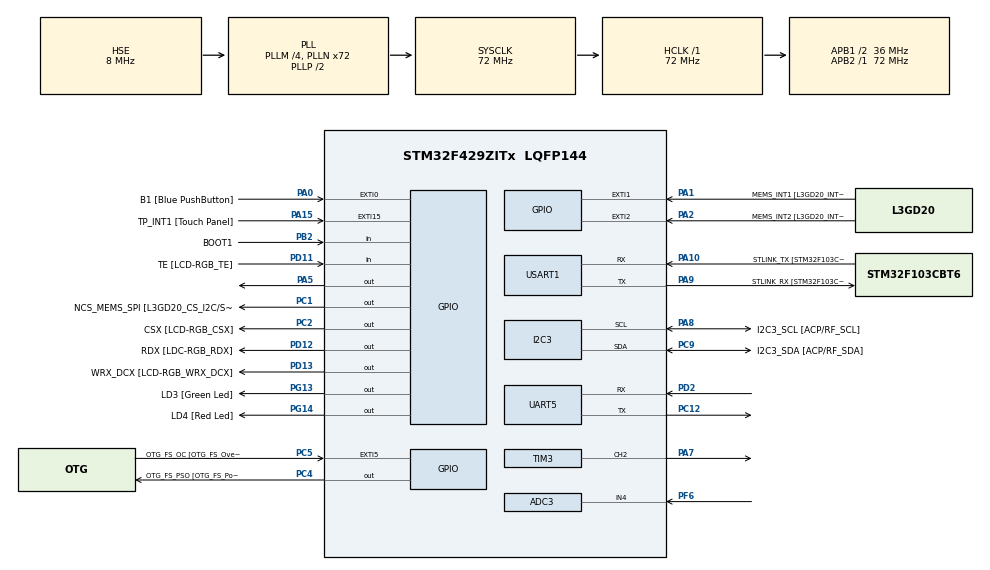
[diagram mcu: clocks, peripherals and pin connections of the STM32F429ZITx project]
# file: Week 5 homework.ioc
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ADC3.Channel-1\#ChannelRegularConversion=ADC_CHANNEL_4
ADC3.ContinuousConvMode=ENABLE
ADC3.NbrOfConversionFlag=1
ADC3.Rank-1\#ChannelRegularConversion=1
ADC3.SamplingTime-1\#ChannelRegularConversion=ADC_SAMPLETIME_3CYCLES
Mcu.Family=STM32F4
Mcu.Name=STM32F429ZITx
Mcu.Package=LQFP144
NVIC.EXTI0_IRQn=true\:0\:0\:false\:false\:true\:true\:true\:true
NVIC.PriorityGroup=NVIC_PRIORITYGROUP_4
NVIC.TIM6_DAC_IRQn=true\:15\:0\:false\:false\:true\:false\:true\:true
NVIC.TimeBase=TIM6_DAC_IRQn
NVIC.TimeBaseIP=TIM6
PA0/WKUP.GPIO_Label=B1 [Blue PushButton]
PA0/WKUP.GPIO_ModeDefaultEXTI=GPIO_MODE_IT_RISING
PA0/WKUP.GPIO_PuPd=GPIO_NOPULL
PA0/WKUP.Signal=GPXTI0
PA1.GPIO_Label=MEMS_INT1 [L3GD20_INT1]
PA1.GPIO_ModeDefaultEXTI=GPIO_MODE_EVT_RISING
PA1.GPIO_PuPd=GPIO_NOPULL
PA1.Signal=GPXTI1
PA10.GPIO_Label=STLINK_TX [STM32F103CBT6_PA2]
PA10.Mode=Asynchronous
PA10.Signal=USART1_RX
PA11.GPIO_Label=R4
PA11.GPIO_Mode=GPIO_MODE_AF_PP
PA11.GPIO_PuPd=GPIO_NOPULL
PA11.GPIO_Speed=GPIO_SPEED_FREQ_LOW
PA11.Signal=LTDC_R4
PA12.GPIO_Label=R5
PA12.GPIO_Mode=GPIO_MODE_AF_PP
PA12.GPIO_PuPd=GPIO_NOPULL
PA12.GPIO_Speed=GPIO_SPEED_FREQ_LOW
PA12.Signal=LTDC_R5
PA13.GPIO_Label=SWDIO
PA13.Mode=Serial_Wire
PA13.Signal=SYS_JTMS-SWDIO
PA14.GPIO_Label=SWCLK
PA14.Mode=Serial_Wire
PA14.Signal=SYS_JTCK-SWCLK
PA15.GPIO_Label=TP_INT1 [Touch Panel]
PA15.GPIO_ModeDefaultEXTI=GPIO_MODE_EVT_RISING
PA15.GPIO_PuPd=GPIO_NOPULL
PA15.Signal=GPXTI15
PA2.GPIO_Label=MEMS_INT2 [L3GD20_INT2]
PA2.GPIO_ModeDefaultEXTI=GPIO_MODE_EVT_RISING
PA2.GPIO_PuPd=GPIO_NOPULL
PA2.Signal=GPXTI2
PA3.GPIO_Label=B5
PA3.GPIO_Mode=GPIO_MODE_AF_PP
PA3.GPIO_PuPd=GPIO_NOPULL
PA3.GPIO_Speed=GPIO_SPEED_FREQ_LOW
PA3.Signal=LTDC_B5
PA4.GPIO_Label=VSYNC
PA4.GPIO_Mode=GPIO_MODE_AF_PP
PA4.GPIO_PuPd=GPIO_NOPULL
PA4.GPIO_Speed=GPIO_SPEED_FREQ_LOW
PA4.Signal=LTDC_VSYNC
PA5.Signal=GPIO_Output
PA6.GPIO_Label=G2
PA6.GPIO_Mode=GPIO_MODE_AF_PP
PA6.GPIO_PuPd=GPIO_NOPULL
PA6.GPIO_Speed=GPIO_SPEED_FREQ_LOW
PA6.Signal=LTDC_G2
PA7.Signal=S_TIM3_CH2
PA8.GPIO_Label=I2C3_SCL [ACP/RF_SCL]
PA8.GPIO_Mode=GPIO_MODE_AF_OD
PA8.GPIO_Pu=GPIO_PULLUP
PA8.GPIO_PuPd=GPIO_NOPULL
PA8.GPIO_Speed=GPIO_SPEED_FREQ_LOW
PA8.Mode=I2C
PA8.Signal=I2C3_SCL
PA9.GPIO_Label=STLINK_RX [STM32F103CBT6_PA3]
PA9.Mode=Asynchronous
PA9.Signal=USART1_TX
PB0.GPIO_Label=R3
PB0.GPIO_Mode=GPIO_MODE_AF_PP
PB0.GPIO_PuPd=GPIO_NOPULL
PB0.GPIO_Speed=GPIO_SPEED_FREQ_LOW
PB0.Signal=LTDC_R3
PB1.GPIO_Label=R6
PB1.GPIO_Mode=GPIO_MODE_AF_PP
PB1.GPIO_PuPd=GPIO_NOPULL
PB1.GPIO_Speed=GPIO_SPEED_FREQ_LOW
PB1.Signal=LTDC_R6
PB10.GPIO_Label=G4
PB10.GPIO_Mode=GPIO_MODE_AF_PP
PB10.GPIO_PuPd=GPIO_NOPULL
PB10.GPIO_Speed=GPIO_SPEED_FREQ_LOW
PB10.Signal=LTDC_G4
PB11.GPIO_Label=G5
PB11.GPIO_Mode=GPIO_MODE_AF_PP
PB11.GPIO_PuPd=GPIO_NOPULL
PB11.GPIO_Speed=GPIO_SPEED_FREQ_LOW
PB11.Signal=LTDC_G5
PB12.GPIO_Label=OTG_HS_ID
PB12.GPIO_Mode=GPIO_MODE_AF_PP
PB12.GPIO_PuPd=GPIO_NOPULL
PB12.GPIO_Speed=GPIO_SPEED_FREQ_LOW
PB12.Signal=USB_OTG_HS_ID
PB13.GPIO_Label=VBUS_HS
PB13.GPIO_Mode=GPIO_MODE_INPUT
PB13.GPIO_PuPd=GPIO_NOPULL
PB13.Signal=USB_OTG_HS_VBUS
PB14.GPIO_Label=OTG_HS_DM
PB14.GPIO_Mode=GPIO_MODE_AF_PP
PB14.GPIO_PuPd=GPIO_NOPULL
PB14.GPIO_Speed=GPIO_SPEED_FREQ_LOW
PB14.Signal=USB_OTG_HS_DM
PB15.GPIO_Label=OTG_HS_DP
PB15.GPIO_Mode=GPIO_MODE_AF_PP
PB15.GPIO_PuPd=GPIO_NOPULL
PB15.GPIO_Speed=GPIO_SPEED_FREQ_LOW
PB15.Signal=USB_OTG_HS_DP
PB2/BOOT1.GPIO_Label=BOOT1
PB2/BOOT1.GPIO_Mode=GPIO_MODE_INPUT
PB2/BOOT1.GPIO_PuPd=GPIO_NOPULL
PB2/BOOT1.Signal=GPIO_Input
PB5.GPIO_Label=SDCKE1
PB5.GPIO_Mode=GPIO_MODE_AF_PP
PB5.GPIO_PuPd=GPIO_NOPULL
PB5.GPIO_Speed=GPIO_SPEED_FREQ_VERY_HIGH
PB5.Signal=FMC_SDCKE1
PB6.GPIO_Label=SDNE1 [SDRAM_CS]
PB6.GPIO_Mode=GPIO_MODE_AF_PP
PB6.GPIO_PuPd=GPIO_NOPULL
PB6.GPIO_Speed=GPIO_SPEED_FREQ_VERY_HIGH
PB6.Signal=FMC_SDNE1
PB8.GPIO_Label=B6
PB8.GPIO_Mode=GPIO_MODE_AF_PP
PB8.GPIO_PuPd=GPIO_NOPULL
PB8.GPIO_Speed=GPIO_SPEED_FREQ_LOW
PB8.Signal=LTDC_B6
PB9.GPIO_Label=B7
PB9.GPIO_Mode=GPIO_MODE_AF_PP
PB9.GPIO_PuPd=GPIO_NOPULL
PB9.GPIO_Speed=GPIO_SPEED_FREQ_LOW
PB9.Signal=LTDC_B7
PC0.GPIO_Label=SDNWE
PC0.GPIO_Mode=GPIO_MODE_AF_PP
PC0.GPIO_PuPd=GPIO_NOPULL
PC0.GPIO_Speed=GPIO_SPEED_FREQ_VERY_HIGH
PC0.Signal=FMC_SDNWE
PC1.GPIO_Label=NCS_MEMS_SPI [L3GD20_CS_I2C/SPI]
PC1.GPIO_Mode=GPIO_MODE_OUTPUT_PP
PC1.GPIO_PuPd=GPIO_NOPULL
PC1.GPIO_Speed=GPIO_SPEED_FREQ_LOW
PC1.Signal=GPIO_Output
PC10.GPIO_Label=R2
PC10.GPIO_Mode=GPIO_MODE_AF_PP
PC10.GPIO_PuPd=GPIO_NOPULL
PC10.GPIO_Speed=GPIO_SPEED_FREQ_LOW
PC10.Signal=LTDC_R2
PC12.Mode=Asynchronous
PC12.Signal=UART5_TX
PC14/OSC32_IN.GPIO_Label=PC14-OSC32_IN
PC14/OSC32_IN.Signal=RCC_OSC32_IN
PC15/OSC32_OUT.GPIO_Label=PC15-OSC32_OUT
PC15/OSC32_OUT.Signal=RCC_OSC32_OUT
PC2.GPIO_Label=CSX [LCD-RGB_CSX]
PC2.GPIO_Mode=GPIO_MODE_OUTPUT_PP
PC2.GPIO_PuPd=GPIO_NOPULL
PC2.GPIO_Speed=GPIO_SPEED_FREQ_LOW
PC2.Signal=GPIO_Output
PC4.GPIO_Label=OTG_FS_PSO [OTG_FS_PowerSwitchOn]
PC4.GPIO_Mode=GPIO_MODE_OUTPUT_PP
PC4.GPIO_PuPd=GPIO_NOPULL
PC4.GPIO_Speed=GPIO_SPEED_FREQ_LOW
PC4.Signal=GPIO_Output
PC5.GPIO_Label=OTG_FS_OC [OTG_FS_OverCurrent]
PC5.GPIO_ModeDefaultEXTI=GPIO_MODE_EVT_RISING
PC5.Signal=GPXTI5
PC6.GPIO_Label=HSYNC
PC6.GPIO_Mode=GPIO_MODE_AF_PP
PC6.GPIO_PuPd=GPIO_NOPULL
PC6.GPIO_Speed=GPIO_SPEED_FREQ_LOW
PC6.Signal=LTDC_HSYNC
PC7.GPIO_Label=G6
PC7.GPIO_Mode=GPIO_MODE_AF_PP
PC7.GPIO_PuPd=GPIO_NOPULL
PC7.GPIO_Speed=GPIO_SPEED_FREQ_LOW
PC7.Signal=LTDC_G6
PC9.GPIO_Label=I2C3_SDA [ACP/RF_SDA]
PC9.GPIO_Mode=GPIO_MODE_AF_OD
PC9.GPIO_Pu=GPIO_PULLUP
PC9.GPIO_PuPd=GPIO_NOPULL
PC9.GPIO_Speed=GPIO_SPEED_FREQ_LOW
PC9.Mode=I2C
PC9.Signal=I2C3_SDA
PD0.GPIO_Label=D2
PD0.GPIO_Mode=GPIO_MODE_AF_PP
PD0.GPIO_PuPd=GPIO_NOPULL
PD0.GPIO_Speed=GPIO_SPEED_FREQ_VERY_HIGH
PD0.Signal=FMC_D2_DA2
PD1.GPIO_Label=D3
PD1.GPIO_Mode=GPIO_MODE_AF_PP
PD1.GPIO_PuPd=GPIO_NOPULL
PD1.GPIO_Speed=GPIO_SPEED_FREQ_VERY_HIGH
PD1.Signal=FMC_D3_DA3
PD10.GPIO_Label=D15
PD10.GPIO_Mode=GPIO_MODE_AF_PP
PD10.GPIO_PuPd=GPIO_NOPULL
PD10.GPIO_Speed=GPIO_SPEED_FREQ_VERY_HIGH
PD10.Signal=FMC_D15_DA15
PD11.GPIO_Label=TE [LCD-RGB_TE]
PD11.GPIO_Mode=GPIO_MODE_INPUT
PD11.GPIO_PuPd=GPIO_NOPULL
PD11.Signal=GPIO_Input
PD12.GPIO_Label=RDX [LDC-RGB_RDX]
PD12.GPIO_Mode=GPIO_MODE_OUTPUT_PP
PD12.GPIO_PuPd=GPIO_NOPULL
PD12.GPIO_Speed=GPIO_SPEED_FREQ_LOW
PD12.Signal=GPIO_Output
PD13.GPIO_Label=WRX_DCX [LCD-RGB_WRX_DCX]
PD13.GPIO_Mode=GPIO_MODE_OUTPUT_PP
PD13.GPIO_PuPd=GPIO_NOPULL
PD13.GPIO_Speed=GPIO_SPEED_FREQ_LOW
PD13.Signal=GPIO_Output
PD14.GPIO_Label=D0
PD14.GPIO_Mode=GPIO_MODE_AF_PP
PD14.GPIO_PuPd=GPIO_NOPULL
PD14.GPIO_Speed=GPIO_SPEED_FREQ_VERY_HIGH
PD14.Signal=FMC_D0_DA0
PD15.GPIO_Label=D1
PD15.GPIO_Mode=GPIO_MODE_AF_PP
PD15.GPIO_PuPd=GPIO_NOPULL
PD15.GPIO_Speed=GPIO_SPEED_FREQ_VERY_HIGH
PD15.Signal=FMC_D1_DA1
PD2.Mode=Asynchronous
PD2.Signal=UART5_RX
PD3.GPIO_Label=G7
PD3.GPIO_Mode=GPIO_MODE_AF_PP
PD3.GPIO_PuPd=GPIO_NOPULL
PD3.GPIO_Speed=GPIO_SPEED_FREQ_LOW
PD3.Signal=LTDC_G7
PD6.GPIO_Label=B2
PD6.GPIO_Mode=GPIO_MODE_AF_PP
PD6.GPIO_PuPd=GPIO_NOPULL
PD6.GPIO_Speed=GPIO_SPEED_FREQ_LOW
PD6.Signal=LTDC_B2
PD8.GPIO_Label=D13
PD8.GPIO_Mode=GPIO_MODE_AF_PP
PD8.GPIO_PuPd=GPIO_NOPULL
PD8.GPIO_Speed=GPIO_SPEED_FREQ_VERY_HIGH
PD8.Signal=FMC_D13_DA13
PD9.GPIO_Label=D14
PD9.GPIO_Mode=GPIO_MODE_AF_PP
PD9.GPIO_PuPd=GPIO_NOPULL
PD9.GPIO_Speed=GPIO_SPEED_FREQ_VERY_HIGH
PD9.Signal=FMC_D14_DA14
PE0.GPIO_Label=NBL0 [SDRAM_LDQM]
PE0.GPIO_Mode=GPIO_MODE_AF_PP
PE0.GPIO_PuPd=GPIO_NOPULL
PE0.GPIO_Speed=GPIO_SPEED_FREQ_VERY_HIGH
PE0.Signal=FMC_NBL0
PE1.GPIO_Label=NBL1 [SDRAM_UDQM]
PE1.GPIO_Mode=GPIO_MODE_AF_PP
PE1.GPIO_PuPd=GPIO_NOPULL
PE1.GPIO_Speed=GPIO_SPEED_FREQ_VERY_HIGH
PE1.Signal=FMC_NBL1
PE10.GPIO_Label=D7
PE10.GPIO_Mode=GPIO_MODE_AF_PP
PE10.GPIO_PuPd=GPIO_NOPULL
PE10.GPIO_Speed=GPIO_SPEED_FREQ_VERY_HIGH
PE10.Signal=FMC_D7_DA7
PE11.GPIO_Label=D8
PE11.GPIO_Mode=GPIO_MODE_AF_PP
PE11.GPIO_PuPd=GPIO_NOPULL
PE11.GPIO_Speed=GPIO_SPEED_FREQ_VERY_HIGH
PE11.Signal=FMC_D8_DA8
PE12.GPIO_Label=D9
PE12.GPIO_Mode=GPIO_MODE_AF_PP
PE12.GPIO_PuPd=GPIO_NOPULL
PE12.GPIO_Speed=GPIO_SPEED_FREQ_VERY_HIGH
PE12.Signal=FMC_D9_DA9
PE13.GPIO_Label=D10
PE13.GPIO_Mode=GPIO_MODE_AF_PP
PE13.GPIO_PuPd=GPIO_NOPULL
PE13.GPIO_Speed=GPIO_SPEED_FREQ_VERY_HIGH
PE13.Signal=FMC_D10_DA10
PE14.GPIO_Label=D11
PE14.GPIO_Mode=GPIO_MODE_AF_PP
PE14.GPIO_PuPd=GPIO_NOPULL
PE14.GPIO_Speed=GPIO_SPEED_FREQ_VERY_HIGH
PE14.Signal=FMC_D11_DA11
PE15.GPIO_Label=D12
PE15.GPIO_Mode=GPIO_MODE_AF_PP
PE15.GPIO_PuPd=GPIO_NOPULL
PE15.GPIO_Speed=GPIO_SPEED_FREQ_VERY_HIGH
PE15.Signal=FMC_D12_DA12
PE7.GPIO_Label=D4
PE7.GPIO_Mode=GPIO_MODE_AF_PP
PE7.GPIO_PuPd=GPIO_NOPULL
PE7.GPIO_Speed=GPIO_SPEED_FREQ_VERY_HIGH
PE7.Signal=FMC_D4_DA4
PE8.GPIO_Label=D5
PE8.GPIO_Mode=GPIO_MODE_AF_PP
PE8.GPIO_PuPd=GPIO_NOPULL
PE8.GPIO_Speed=GPIO_SPEED_FREQ_VERY_HIGH
PE8.Signal=FMC_D5_DA5
PE9.GPIO_Label=D6
PE9.GPIO_Mode=GPIO_MODE_AF_PP
PE9.GPIO_PuPd=GPIO_NOPULL
PE9.GPIO_Speed=GPIO_SPEED_FREQ_VERY_HIGH
PE9.Signal=FMC_D6_DA6
PF0.GPIO_Label=A0
PF0.GPIO_Mode=GPIO_MODE_AF_PP
PF0.GPIO_PuPd=GPIO_NOPULL
PF0.GPIO_Speed=GPIO_SPEED_FREQ_VERY_HIGH
PF0.Signal=FMC_A0
PF1.GPIO_Label=A1
PF1.GPIO_Mode=GPIO_MODE_AF_PP
PF1.GPIO_PuPd=GPIO_NOPULL
PF1.GPIO_Speed=GPIO_SPEED_FREQ_VERY_HIGH
PF1.Signal=FMC_A1
PF10.GPIO_Label=ENABLE [LCD-RGB_ENABLE]
PF10.GPIO_Mode=GPIO_MODE_AF_PP
PF10.GPIO_PuPd=GPIO_NOPULL
PF10.GPIO_Speed=GPIO_SPEED_FREQ_LOW
PF10.Signal=LTDC_DE
PF11.GPIO_Label=SDNRAS
PF11.GPIO_Mode=GPIO_MODE_AF_PP
PF11.GPIO_PuPd=GPIO_NOPULL
PF11.GPIO_Speed=GPIO_SPEED_FREQ_VERY_HIGH
PF11.Signal=FMC_SDNRAS
PF12.GPIO_Label=A6
PF12.GPIO_Mode=GPIO_MODE_AF_PP
PF12.GPIO_PuPd=GPIO_NOPULL
PF12.GPIO_Speed=GPIO_SPEED_FREQ_VERY_HIGH
PF12.Signal=FMC_A6
PF13.GPIO_Label=A7
PF13.GPIO_Mode=GPIO_MODE_AF_PP
PF13.GPIO_PuPd=GPIO_NOPULL
PF13.GPIO_Speed=GPIO_SPEED_FREQ_VERY_HIGH
PF13.Signal=FMC_A7
PF14.GPIO_Label=A8
PF14.GPIO_Mode=GPIO_MODE_AF_PP
PF14.GPIO_PuPd=GPIO_NOPULL
PF14.GPIO_Speed=GPIO_SPEED_FREQ_VERY_HIGH
PF14.Signal=FMC_A8
PF15.GPIO_Label=A9
PF15.GPIO_Mode=GPIO_MODE_AF_PP
PF15.GPIO_PuPd=GPIO_NOPULL
PF15.GPIO_Speed=GPIO_SPEED_FREQ_VERY_HIGH
PF15.Signal=FMC_A9
PF2.GPIO_Label=A2
PF2.GPIO_Mode=GPIO_MODE_AF_PP
PF2.GPIO_PuPd=GPIO_NOPULL
PF2.GPIO_Speed=GPIO_SPEED_FREQ_VERY_HIGH
PF2.Signal=FMC_A2
PF3.GPIO_Label=A3
PF3.GPIO_Mode=GPIO_MODE_AF_PP
PF3.GPIO_PuPd=GPIO_NOPULL
PF3.GPIO_Speed=GPIO_SPEED_FREQ_VERY_HIGH
PF3.Signal=FMC_A3
PF4.GPIO_Label=A4
PF4.GPIO_Mode=GPIO_MODE_AF_PP
PF4.GPIO_PuPd=GPIO_NOPULL
PF4.GPIO_Speed=GPIO_SPEED_FREQ_VERY_HIGH
PF4.Signal=FMC_A4
PF5.GPIO_Label=A5
PF5.GPIO_Mode=GPIO_MODE_AF_PP
PF5.GPIO_PuPd=GPIO_NOPULL
PF5.GPIO_Speed=GPIO_SPEED_FREQ_VERY_HIGH
PF5.Signal=FMC_A5
PF6.Mode=IN4
PF6.Signal=ADC3_IN4
PF7.GPIO_Label=SPI5_SCK [L3GD20_SCL/SPC]
PF7.GPIO_Mode=GPIO_MODE_AF_PP
PF7.GPIO_PuPd=GPIO_NOPULL
PF7.GPIO_Speed=GPIO_SPEED_FREQ_LOW
PF7.Signal=SPI5_SCK
PF8.GPIO_Label=SPI5_MISO [L3GD20_SDO]
PF8.GPIO_Mode=GPIO_MODE_AF_PP
PF8.GPIO_PuPd=GPIO_NOPULL
PF8.GPIO_Speed=GPIO_SPEED_FREQ_LOW
PF8.Signal=SPI5_MISO
PF9.GPIO_Label=SPI5_MOSI [L3GD20_SDA/SDI/SDO]
PF9.GPIO_Mode=GPIO_MODE_AF_PP
PF9.GPIO_PuPd=GPIO_NOPULL
PF9.GPIO_Speed=GPIO_SPEED_FREQ_LOW
PF9.Signal=SPI5_MOSI
PG0.GPIO_Label=A10
PG0.GPIO_Mode=GPIO_MODE_AF_PP
PG0.GPIO_PuPd=GPIO_NOPULL
PG0.GPIO_Speed=GPIO_SPEED_FREQ_VERY_HIGH
PG0.Signal=FMC_A10
PG1.GPIO_Label=A11
PG1.GPIO_Mode=GPIO_MODE_AF_PP
PG1.GPIO_PuPd=GPIO_NOPULL
PG1.GPIO_Speed=GPIO_SPEED_FREQ_VERY_HIGH
PG1.Signal=FMC_A11
PG10.GPIO_Label=G3
PG10.GPIO_Mode=GPIO_MODE_AF_PP
PG10.GPIO_PuPd=GPIO_NOPULL
PG10.GPIO_Speed=GPIO_SPEED_FREQ_LOW
PG10.Signal=LTDC_G3
PG11.GPIO_Label=B3
PG11.GPIO_Mode=GPIO_MODE_AF_PP
PG11.GPIO_PuPd=GPIO_NOPULL
PG11.GPIO_Speed=GPIO_SPEED_FREQ_LOW
PG11.Signal=LTDC_B3
PG12.GPIO_Label=B4
PG12.GPIO_Mode=GPIO_MODE_AF_PP
PG12.GPIO_PuPd=GPIO_NOPULL
PG12.GPIO_Speed=GPIO_SPEED_FREQ_LOW
PG12.Signal=LTDC_B4
PG13.GPIO_Label=LD3 [Green Led]
PG13.GPIO_Mode=GPIO_MODE_OUTPUT_PP
PG13.GPIO_PuPd=GPIO_NOPULL
PG13.GPIO_Speed=GPIO_SPEED_FREQ_LOW
PG13.Signal=GPIO_Output
PG14.GPIO_Label=LD4 [Red Led]
PG14.GPIO_Mode=GPIO_MODE_OUTPUT_PP
PG14.GPIO_PuPd=GPIO_NOPULL
PG14.GPIO_Speed=GPIO_SPEED_FREQ_LOW
PG14.Signal=GPIO_Output
PG15.GPIO_Label=SDNCAS
PG15.GPIO_Mode=GPIO_MODE_AF_PP
PG15.GPIO_PuPd=GPIO_NOPULL
PG15.GPIO_Speed=GPIO_SPEED_FREQ_VERY_HIGH
PG15.Signal=FMC_SDNCAS
PG4.GPIO_Label=BA0
PG4.GPIO_Mode=GPIO_MODE_AF_PP
PG4.GPIO_PuPd=GPIO_NOPULL
PG4.GPIO_Speed=GPIO_SPEED_FREQ_VERY_HIGH
PG4.Signal=FMC_A14_BA0
PG5.GPIO_Label=BA1
PG5.GPIO_Mode=GPIO_MODE_AF_PP
PG5.GPIO_PuPd=GPIO_NOPULL
PG5.GPIO_Speed=GPIO_SPEED_FREQ_VERY_HIGH
PG5.Signal=FMC_A15_BA1
PG6.GPIO_Label=R7
PG6.GPIO_Mode=GPIO_MODE_AF_PP
PG6.GPIO_PuPd=GPIO_NOPULL
PG6.GPIO_Speed=GPIO_SPEED_FREQ_LOW
PG6.Signal=LTDC_R7
PG7.GPIO_Label=DOTCLK [LCT-RGB_DOTCLK]
PG7.GPIO_Mode=GPIO_MODE_AF_PP
PG7.GPIO_PuPd=GPIO_NOPULL
PG7.GPIO_Speed=GPIO_SPEED_FREQ_LOW
PG7.Signal=LTDC_CLK
PG8.GPIO_Label=SDCLK
PG8.GPIO_Mode=GPIO_MODE_AF_PP
PG8.GPIO_PuPd=GPIO_NOPULL
PG8.GPIO_Speed=GPIO_SPEED_FREQ_VERY_HIGH
PG8.Signal=FMC_SDCLK
PH0/OSC_IN.GPIO_Label=PH0-OSC_IN
PH0/OSC_IN.Mode=HSE-External-Oscillator
PH0/OSC_IN.Signal=RCC_OSC_IN
PH1/OSC_OUT.GPIO_Label=PH1-OSC_OUT
PH1/OSC_OUT.Mode=HSE-External-Oscillator
PH1/OSC_OUT.Signal=RCC_OSC_OUT
ProjectManager.HeapSize=0x200
ProjectManager.StackSize=0x400
ProjectManager.TargetToolchain=STM32CubeIDE
RCC.48MHZClocksFreq_Value=48000000
RCC.AHBFreq_Value=72000000
RCC.APB1CLKDivider=RCC_HCLK_DIV2
RCC.APB1Freq_Value=36000000
RCC.APB1TimFreq_Value=72000000
RCC.APB2Freq_Value=72000000
RCC.APB2TimFreq_Value=72000000
RCC.CortexFreq_Value=72000000
RCC.HCLKFreq_Value=72000000
RCC.HSE_VALUE=8000000
RCC.HSI_VALUE=16000000
RCC.LSE_VALUE=32768
RCC.PLLM=4
RCC.PLLN=72
RCC.PLLQ=3
RCC.PLLSAIN=50
RCC.PLLSourceVirtual=RCC_PLLSOURCE_HSE
RCC.SYSCLKFreq_VALUE=72000000
RCC.SYSCLKSource=RCC_SYSCLKSOURCE_PLLCLK
RCC.VCOOutputFreq_Value=144000000
SH.FMC_A0.0=FMC_A0
SH.FMC_A1.0=FMC_A1
SH.FMC_A10.0=FMC_A10
SH.FMC_A11.0=FMC_A11
SH.FMC_A14_BA0.0=FMC_BA0
SH.FMC_A15_BA1.0=FMC_BA1
SH.FMC_A2.0=FMC_A2
SH.FMC_A3.0=FMC_A3
SH.FMC_A4.0=FMC_A4
SH.FMC_A5.0=FMC_A5
SH.FMC_A6.0=FMC_A6
SH.FMC_A7.0=FMC_A7
SH.FMC_A8.0=FMC_A8
SH.FMC_A9.0=FMC_A9
SH.FMC_D0_DA0.0=FMC_D0
SH.FMC_D10_DA10.0=FMC_D10
SH.FMC_D11_DA11.0=FMC_D11
SH.FMC_D12_DA12.0=FMC_D12
SH.FMC_D13_DA13.0=FMC_D13
SH.FMC_D14_DA14.0=FMC_D14
SH.FMC_D15_DA15.0=FMC_D15
SH.FMC_D1_DA1.0=FMC_D1
SH.FMC_D2_DA2.0=FMC_D2
SH.FMC_D3_DA3.0=FMC_D3
SH.FMC_D4_DA4.0=FMC_D4
SH.FMC_D5_DA5.0=FMC_D5
SH.FMC_D6_DA6.0=FMC_D6
SH.FMC_D7_DA7.0=FMC_D7
SH.FMC_D8_DA8.0=FMC_D8
SH.FMC_D9_DA9.0=FMC_D9
SH.FMC_NBL0.0=FMC_NBL0
SH.FMC_NBL1.0=FMC_NBL1
SH.FMC_SDCLK.0=FMC_SDCLK
SH.FMC_SDNCAS.0=FMC_SDNCAS
SH.FMC_SDNRAS.0=FMC_SDNRAS
SH.FMC_SDNWE.0=FMC_SDNWE
SH.S_TIM3_CH2.0=TIM3_CH2,PWM Generation2 CH2
TIM3.Channel-PWM\ Generation2\ CH2=TIM_CHANNEL_2
TIM3.OCFastMode_PWM-PWM\ Generation2\ CH2=TIM_OCFAST_ENABLE
TIM3.Period=100-1
TIM3.Prescaler=72-1
TIM3.Pulse-PWM\ Generation2\ CH2=0
UART5.VirtualMode=Asynchronous
USART1.VirtualMode=VM_ASYNC
VP_CRC_VS_CRC.Mode=CRC_Activate
VP_SYS_VS_tim6.Mode=TIM6
VP_TIM3_VS_ClockSourceINT.Mode=Internal
board=STM32F429I-DISC1

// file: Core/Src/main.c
/* USER CODE BEGIN Header */
/**
  ******************************************************************************
  * @file           : main.c
  * @brief          : Main program body
  ******************************************************************************
  * @attention
  *
  * Copyright (c) 2022 STMicroelectronics.
  * All rights reserved.
  *
  * This software is licensed under terms that can be found in the LICENSE file
  * in the root directory of this software component.
  * If no LICENSE file comes with this software, it is provided AS-IS.
  *
  ******************************************************************************
  */
/* USER CODE END Header */
#include "main.h"

/* USER CODE BEGIN Includes */
//#include "Consolinator/console.h"
#include <stdio.h>
#include <string.h>
#include "console.h"
#include "consoleIo.h"
#include "aiq_PMSA003I_i2c.h"

#include "scd4x_i2c.h"
#include "sensirion_common.h"
#include "sensirion_i2c_hal.h"

/* USER CODE END Includes */

 ADC_HandleTypeDef hadc3;

CRC_HandleTypeDef hcrc;

I2C_HandleTypeDef hi2c3;

TIM_HandleTypeDef htim3;

UART_HandleTypeDef huart5;
UART_HandleTypeDef huart1;

/* USER CODE BEGIN PV */
// global variable that is set by the interrupt when button is pressed
// To the compiler :  Can't touch this!
volatile GPIO_PinState MyButtonPressed = 0u;
uint8_t isConsoleStarted = 0u;
uint8_t hugeVar[65536];
int randomVar = 10;  // initialized with 0 is treated same as not initialized for global / static variables -- compiler optimization

//volatile uint16_t MyPotValue = 0u;

//uint8_t ui8TimPulse = 50; // set duty cycle to 50% initially

/* USER CODE END PV */

void SystemClock_Config(void);
static void MX_GPIO_Init(void);
static void MX_CRC_Init(void);
static void MX_I2C3_Init(void);
static void MX_UART5_Init(void);
static void MX_ADC3_Init(void);
static void MX_USART1_UART_Init(void);
static void MX_TIM3_Init(void);

/* USER CODE BEGIN 0 */
int __io_putchar(int ch) {
	HAL_UART_Transmit(&huart5, (uint8_t*)&ch, 1, HAL_MAX_DELAY);

	return ch;
}

int __io_getchar(void) {
	uint8_t ch = 0;

	//__HAL_UART_CLEAR_OREFLAG(&huart5);

	HAL_UART_Receive(&huart5, &ch, 1, HAL_MAX_DELAY);

	return ch;
}

void randomFunction1();

void randomFunction(){
	static int rdV;
	static int rdV1 = 10;
	int rdV2;
	int rdV3 = 9;

	  printf("   Static int var in function     | %p \r\n", &rdV);
	  printf("   Initializ stat int var in func | %p \r\n", &rdV1);
	  printf("   Int variable inside function   | %p \r\n", &rdV2);
	  printf("   Initialized int var in func    | %p \r\n", &rdV3);
	  printf("----------------------------------|--------------\r\n");
	  randomFunction1();
}

void randomFunction1(){
	static int rdV1;
	int rdV2;

	  printf("   Static int var in function 1   | %p \r\n", &rdV1);
	  printf("   Int variable inside function 1 | %p \r\n", &rdV2);

}

/* USER CODE END 0 */

int main(void)
{

  /* MCU Configuration--------------------------------------------------------*/

  /* Reset of all peripherals, Initializes the Flash interface and the Systick. */
  HAL_Init();

  /* Configure the system clock */
  SystemClock_Config();

  /* USER CODE BEGIN SysInit */
  setvbuf(stdin, NULL, _IONBF, 0);  // to make scanf work
  /* USER CODE END SysInit */

  /* Initialize all configured peripherals */
  MX_GPIO_Init();
  MX_CRC_Init();
  MX_I2C3_Init();
  MX_UART5_Init();
  MX_ADC3_Init();
  MX_USART1_UART_Init();
  MX_TIM3_Init();
  /* USER CODE BEGIN 2 */

  // Testing the UART
  //char data5[] = "\r\n   =^.^= Hello UART 5 =^.^= \r\n";
  //if ( HAL_UART_Transmit(&huart5, (uint8_t*)data5, sizeof(data5), 0xFFFF) != HAL_OK ) {
//	  Error_Handler();
  //}

  // Testing printf si scanf
  //printf("~~~~~~~~~~~~~~~~~~  Mishizi test ~~~~~~~~~~~~~~~~~  \r\n");
  //char c;
  //scanf("%c", &c);
  //printf("read value:  %c---\r\n", c);
  //fflush(stdout);

/*  HAL_TIM_Base_Start_IT(&htim1);
  HAL_TIM_Base_Start_IT(&htim3);
  HAL_TIM_PWM_Start(&htim3, TIM_CHANNEL_2);*/

  TIM3->CCR2 = 100;
  HAL_TIM_PWM_Start(&htim3, TIM_CHANNEL_2);
  //int8_t dutyCycle = 0;

  uint32_t adc_val = 0u;

  MyButtonPressed = HAL_GPIO_ReadPin(B1_GPIO_Port, B1_Pin);
  //uint8_t TurnPWMOn = 1u;
  ConsoleInit();

  PM25_AQI_Data data = {0};

  if (HAL_I2C_IsDeviceReady(&hi2c3, PMSA003I_I2CADDR ,1, HAL_MAX_DELAY) == HAL_OK){
	  printf("\r\n  air particle sensor ready\r\n");
	  // HAL_Delay(1000);
  }
  else {
	  printf("\r\n  air particle sensor ~~~NOT~~~  ready\r\n");
  }

  // vendor address 0x62  -->  use address 0xC4
  if (HAL_I2C_IsDeviceReady(&hi2c3, 0xC4 ,1, HAL_MAX_DELAY) == HAL_OK){
	  printf("\r\n  CO2 sensor ready\r\n");
	  // HAL_Delay(1000);
  }
  else {
	  printf("\r\n  CO2 sensor ~~~NOT~~~  ready\r\n");
  }

  int16_t error = 0;

  // Clean up potential SCD40 states
  scd4x_wake_up();
  scd4x_stop_periodic_measurement();
  scd4x_reinit();

  uint16_t serial_0;
  uint16_t serial_1;
  uint16_t serial_2;
  error = scd4x_get_serial_number(&serial_0, &serial_1, &serial_2);
  if (error) {
      printf("Error executing scd4x_get_serial_number(): %i \r\n", error);
  } else {
      printf("serial: 0x%04x%04x%04x\r\n", serial_0, serial_1, serial_2);
  }

  // Start Measurement

  error = scd4x_start_periodic_measurement();
  if (error) {
      printf("Error executing scd4x_start_periodic_measurement(): %i \r\n",
             error);
  }

  printf("Waiting for first measurement... (5 sec)\r\n");

  /* USER CODE END 2 */

  /* Infinite loop */
  /* USER CODE BEGIN WHILE */

  printf("\r\n\r\n");
  printf("   UNinitialized global variable  | %p \r\n", &MyButtonPressed);
  printf("   UNinitialized global variable  | %p \r\n", &isConsoleStarted);
  printf("   UNinitialized huge gl variable | %p \r\n", &hugeVar);
  printf("   Initialized global variable    | %p \r\n", &randomVar);
  printf("----------------------------------|--------------\r\n");
  printf("   Function address               | %.8p \r\n", &randomFunction);
  printf("----------------------------------|--------------\r\n");
  randomFunction();
  extern int __bss_start__;
  extern int __bss_end__;
  printf("----------------------------------|--------------\r\n");
  printf("   Bss start                      | %p\r\n", &__bss_start__);
  printf("   Bss end                        | %p\r\n", &__bss_end__);
  char *str, *str1 ;
  str = (char *) malloc(10);
  str1 = (char *) malloc(10);
  printf("----------------------------------|--------------\r\n");
  printf("   Malloc'ed string               | %p\r\n", str);
  printf("   Malloc'ed string 1             | %p\r\n", str1);
  printf("\r\n\r\n");

  while (1)
  {
	  if (isConsoleStarted){
		  ConsoleProcess();
	  }

/*

      // Read Measurement
      sensirion_i2c_hal_sleep_usec(50000);
      bool data_ready_flag = false;
      error = scd4x_get_data_ready_flag(&data_ready_flag);
      if (error) {
          printf("Error executing scd4x_get_data_ready_flag(): %i \r\n", error);
          continue;
      }
      if (!data_ready_flag) {
          continue;
      }

      uint16_t co2;
      int32_t temperature;
      int32_t humidity;
      error = scd4x_read_measurement(&co2, &temperature, &humidity);
      if (error) {
          printf("Error executing scd4x_read_measurement(): %i \r\n", error);
      } else if (co2 == 0) {
          printf("Invalid sample detected, skipping.\r\n");
      } else {
          printf(" \r\nCO2: %u \r\n", co2);
          printf("Temperature: %.2f °C \r\n", (float)temperature/1000);
          printf("Humidity: %.2f %% \r\n", (float)humidity/1000);
      }

	  if (aiq_PMSA003I_i2c_read(&data)){
		  printf("\r\nAQI reading success\r\n");
		  printf("---------------------------------------\r\n");
		  printf("Concentration Units (standard)\r\n");
		  printf("---------------------------------------\r\n");
		  printf("PM 1.0: %d \r\n", data.pm10_standard);
		  printf("PM 2.5: %d \r\n", data.pm25_standard);
		  printf("PM 10: %d \r\n", data.pm100_standard);

		  printf("\r\nConcentration Units (environmental)\r\n");
		  printf("---------------------------------------\r\n");
		  printf("PM 1.0: %d \r\n", data.pm10_env);
		  printf("PM 2.5: %d \r\n", data.pm25_env);
		  printf("PM 10: %d \r\n", data.pm100_env);

		  printf("\r\n---------------------------------------\r\n");
		  printf("Particles > 0.3um / 0.1L air: %d \r\n", data.particles_03um);
		  printf("Particles > 0.5um / 0.1L air: %d \r\n", data.particles_05um);
		  printf("Particles > 1.0um / 0.1L air: %d \r\n", data.particles_10um);
		  printf("Particles > 2.5um / 0.1L air: %d \r\n", data.particles_25um);
		  printf("Particles > 5.0um / 0.1L air: %d \r\n", data.particles_50um);
		  printf("Particles > 10 um / 0.1L air: %d \r\n", data.particles_100um);
		  printf("\r\n---------------------------------------\r\n");

		  //HAL_Delay(3000);
	  }

*/

	 /* if (adc_val != MyPotValue){
		  printf("\r\n pot value %d   %d \r\n ", MyPotValue, adc_val);
		  adc_val = MyPotValue;
		  HAL_ADC_Start_IT(&hadc3);
	  }*/

	  if (MyButtonPressed == GPIO_PIN_SET){
		  //printf("button pressed\r\n");
		  ConsoleIoSendString(STR_ENDLINE);
		  ConsoleIoSendString(CONSOLE_PROMPT);
		  isConsoleStarted = 1u;

/*		  dutyCycle = TIM3->CCR2 - 10;
		  if (dutyCycle < 0) {
			  dutyCycle = 100;
		  }
		  TIM3->CCR2 = dutyCycle;*/

/*		  if (TurnPWMOn == 1u){
			  printf("return code %d\r\n",HAL_TIM_PWM_Start(&htim3, TIM_CHANNEL_2));
			  printf("   set - should start pwm\r\n") ;
			  TurnPWMOn = 0u;
		  }
		  else {
			  printf("return code %d\r\n",HAL_TIM_PWM_Stop(&htim3, TIM_CHANNEL_2));
			  printf("   reset - should stop pwm\r\n") ;
			  TurnPWMOn = 1u;
		  }*/

		  //HAL_GPIO_TogglePin(ACP_RST_GPIO_Port, ACP_RST_Pin);
		  // button interrupt has been handled, reset the global variable
		  MyButtonPressed = GPIO_PIN_RESET;
	  }

	  HAL_ADC_Start(&hadc3); // start the adc
	  HAL_ADC_PollForConversion(&hadc3, 0); // poll for conversion timeout value ????
	  adc_val = HAL_ADC_GetValue(&hadc3); // get the adc value

	  //printf("\r\n pot value %ld \r\n ", adc_val);
	  TIM3->CCR2 = (adc_val * 100) / 4096 ;

	  HAL_ADC_Stop(&hadc3); // stop adc

	  //HAL_Delay (500); // wait for 500ms

    /* USER CODE END WHILE */

  }
}

void SystemClock_Config(void)
{
  RCC_OscInitTypeDef RCC_OscInitStruct = {0};
  RCC_ClkInitTypeDef RCC_ClkInitStruct = {0};

  /** Configure the main internal regulator output voltage
  */
  __HAL_RCC_PWR_CLK_ENABLE();
  __HAL_PWR_VOLTAGESCALING_CONFIG(PWR_REGULATOR_VOLTAGE_SCALE3);

  /** Initializes the RCC Oscillators according to the specified parameters
  * in the RCC_OscInitTypeDef structure.
  */
  RCC_OscInitStruct.OscillatorType = RCC_OSCILLATORTYPE_HSE;
  RCC_OscInitStruct.HSEState = RCC_HSE_ON;
  RCC_OscInitStruct.PLL.PLLState = RCC_PLL_ON;
  RCC_OscInitStruct.PLL.PLLSource = RCC_PLLSOURCE_HSE;
  RCC_OscInitStruct.PLL.PLLM = 4;
  RCC_OscInitStruct.PLL.PLLN = 72;
  RCC_OscInitStruct.PLL.PLLP = RCC_PLLP_DIV2;
  RCC_OscInitStruct.PLL.PLLQ = 3;
  if (HAL_RCC_OscConfig(&RCC_OscInitStruct) != HAL_OK)
  {
    Error_Handler();
  }

  /** Initializes the CPU, AHB and APB buses clocks
  */
  RCC_ClkInitStruct.ClockType = RCC_CLOCKTYPE_HCLK|RCC_CLOCKTYPE_SYSCLK
                              |RCC_CLOCKTYPE_PCLK1|RCC_CLOCKTYPE_PCLK2;
  RCC_ClkInitStruct.SYSCLKSource = RCC_SYSCLKSOURCE_PLLCLK;
  RCC_ClkInitStruct.AHBCLKDivider = RCC_SYSCLK_DIV1;
  RCC_ClkInitStruct.APB1CLKDivider = RCC_HCLK_DIV2;
  RCC_ClkInitStruct.APB2CLKDivider = RCC_HCLK_DIV1;

  if (HAL_RCC_ClockConfig(&RCC_ClkInitStruct, FLASH_LATENCY_2) != HAL_OK)
  {
    Error_Handler();
  }
}

static void MX_ADC3_Init(void)
{

  ADC_ChannelConfTypeDef sConfig = {0};

  /** Configure the global features of the ADC (Clock, Resolution, Data Alignment and number of conversion)
  */
  hadc3.Instance = ADC3;
  hadc3.Init.ClockPrescaler = ADC_CLOCK_SYNC_PCLK_DIV2;
  hadc3.Init.Resolution = ADC_RESOLUTION_12B;
  hadc3.Init.ScanConvMode = DISABLE;
  hadc3.Init.ContinuousConvMode = ENABLE;
  hadc3.Init.DiscontinuousConvMode = DISABLE;
  hadc3.Init.ExternalTrigConvEdge = ADC_EXTERNALTRIGCONVEDGE_NONE;
  hadc3.Init.ExternalTrigConv = ADC_SOFTWARE_START;
  hadc3.Init.DataAlign = ADC_DATAALIGN_RIGHT;
  hadc3.Init.NbrOfConversion = 1;
  hadc3.Init.DMAContinuousRequests = DISABLE;
  hadc3.Init.EOCSelection = ADC_EOC_SINGLE_CONV;
  if (HAL_ADC_Init(&hadc3) != HAL_OK)
  {
    Error_Handler();
  }

  /** Configure for the selected ADC regular channel its corresponding rank in the sequencer and its sample time.
  */
  sConfig.Channel = ADC_CHANNEL_4;
  sConfig.Rank = 1;
  sConfig.SamplingTime = ADC_SAMPLETIME_3CYCLES;
  if (HAL_ADC_ConfigChannel(&hadc3, &sConfig) != HAL_OK)
  {
    Error_Handler();
  }

}

static void MX_CRC_Init(void)
{

  hcrc.Instance = CRC;
  if (HAL_CRC_Init(&hcrc) != HAL_OK)
  {
    Error_Handler();
  }

}

static void MX_I2C3_Init(void)
{

  hi2c3.Instance = I2C3;
  hi2c3.Init.ClockSpeed = 100000;
  hi2c3.Init.DutyCycle = I2C_DUTYCYCLE_2;
  hi2c3.Init.OwnAddress1 = 0;
  hi2c3.Init.AddressingMode = I2C_ADDRESSINGMODE_7BIT;
  hi2c3.Init.DualAddressMode = I2C_DUALADDRESS_DISABLE;
  hi2c3.Init.OwnAddress2 = 0;
  hi2c3.Init.GeneralCallMode = I2C_GENERALCALL_DISABLE;
  hi2c3.Init.NoStretchMode = I2C_NOSTRETCH_DISABLE;
  if (HAL_I2C_Init(&hi2c3) != HAL_OK)
  {
    Error_Handler();
  }

  /** Configure Analogue filter
  */
  if (HAL_I2CEx_ConfigAnalogFilter(&hi2c3, I2C_ANALOGFILTER_ENABLE) != HAL_OK)
  {
    Error_Handler();
  }

  /** Configure Digital filter
  */
  if (HAL_I2CEx_ConfigDigitalFilter(&hi2c3, 0) != HAL_OK)
  {
    Error_Handler();
  }

}

static void MX_TIM3_Init(void)
{

  TIM_ClockConfigTypeDef sClockSourceConfig = {0};
  TIM_MasterConfigTypeDef sMasterConfig = {0};
  TIM_OC_InitTypeDef sConfigOC = {0};

  htim3.Instance = TIM3;
  htim3.Init.Prescaler = 72-1;
  htim3.Init.CounterMode = TIM_COUNTERMODE_UP;
  htim3.Init.Period = 100-1;
  htim3.Init.ClockDivision = TIM_CLOCKDIVISION_DIV1;
  htim3.Init.AutoReloadPreload = TIM_AUTORELOAD_PRELOAD_DISABLE;
  if (HAL_TIM_Base_Init(&htim3) != HAL_OK)
  {
    Error_Handler();
  }
  sClockSourceConfig.ClockSource = TIM_CLOCKSOURCE_INTERNAL;
  if (HAL_TIM_ConfigClockSource(&htim3, &sClockSourceConfig) != HAL_OK)
  {
    Error_Handler();
  }
  if (HAL_TIM_PWM_Init(&htim3) != HAL_OK)
  {
    Error_Handler();
  }
  sMasterConfig.MasterOutputTrigger = TIM_TRGO_RESET;
  sMasterConfig.MasterSlaveMode = TIM_MASTERSLAVEMODE_DISABLE;
  if (HAL_TIMEx_MasterConfigSynchronization(&htim3, &sMasterConfig) != HAL_OK)
  {
    Error_Handler();
  }
  sConfigOC.OCMode = TIM_OCMODE_PWM1;
  sConfigOC.Pulse = 0;
  sConfigOC.OCPolarity = TIM_OCPOLARITY_HIGH;
  sConfigOC.OCFastMode = TIM_OCFAST_ENABLE;
  if (HAL_TIM_PWM_ConfigChannel(&htim3, &sConfigOC, TIM_CHANNEL_2) != HAL_OK)
  {
    Error_Handler();
  }
  HAL_TIM_MspPostInit(&htim3);

}

static void MX_UART5_Init(void)
{

  huart5.Instance = UART5;
  huart5.Init.BaudRate = 115200;
  huart5.Init.WordLength = UART_WORDLENGTH_8B;
  huart5.Init.StopBits = UART_STOPBITS_1;
  huart5.Init.Parity = UART_PARITY_NONE;
  huart5.Init.Mode = UART_MODE_TX_RX;
  huart5.Init.HwFlowCtl = UART_HWCONTROL_NONE;
  huart5.Init.OverSampling = UART_OVERSAMPLING_16;
  if (HAL_UART_Init(&huart5) != HAL_OK)
  {
    Error_Handler();
  }

}

static void MX_USART1_UART_Init(void)
{

  huart1.Instance = USART1;
  huart1.Init.BaudRate = 115200;
  huart1.Init.WordLength = UART_WORDLENGTH_8B;
  huart1.Init.StopBits = UART_STOPBITS_1;
  huart1.Init.Parity = UART_PARITY_NONE;
  huart1.Init.Mode = UART_MODE_TX_RX;
  huart1.Init.HwFlowCtl = UART_HWCONTROL_NONE;
  huart1.Init.OverSampling = UART_OVERSAMPLING_16;
  if (HAL_UART_Init(&huart1) != HAL_OK)
  {
    Error_Handler();
  }

}

static void MX_GPIO_Init(void)
{
  GPIO_InitTypeDef GPIO_InitStruct = {0};

  /* GPIO Ports Clock Enable */
  __HAL_RCC_GPIOC_CLK_ENABLE();
  __HAL_RCC_GPIOF_CLK_ENABLE();
  __HAL_RCC_GPIOH_CLK_ENABLE();
  __HAL_RCC_GPIOA_CLK_ENABLE();
  __HAL_RCC_GPIOB_CLK_ENABLE();
  __HAL_RCC_GPIOG_CLK_ENABLE();
  __HAL_RCC_GPIOE_CLK_ENABLE();
  __HAL_RCC_GPIOD_CLK_ENABLE();

  /*Configure GPIO pin Output Level */
  HAL_GPIO_WritePin(GPIOC, NCS_MEMS_SPI_Pin|CSX_Pin|OTG_FS_PSO_Pin, GPIO_PIN_RESET);

  /*Configure GPIO pin Output Level */
  HAL_GPIO_WritePin(GPIOA, GPIO_PIN_5, GPIO_PIN_RESET);

  /*Configure GPIO pin Output Level */
  HAL_GPIO_WritePin(GPIOD, RDX_Pin|WRX_DCX_Pin, GPIO_PIN_RESET);

  /*Configure GPIO pin Output Level */
  HAL_GPIO_WritePin(GPIOG, LD3_Pin|LD4_Pin, GPIO_PIN_RESET);

  /*Configure GPIO pins : A0_Pin A1_Pin A2_Pin A3_Pin
                           A4_Pin A5_Pin SDNRAS_Pin A6_Pin
                           A7_Pin A8_Pin A9_Pin */
  GPIO_InitStruct.Pin = A0_Pin|A1_Pin|A2_Pin|A3_Pin
                          |A4_Pin|A5_Pin|SDNRAS_Pin|A6_Pin
                          |A7_Pin|A8_Pin|A9_Pin;
  GPIO_InitStruct.Mode = GPIO_MODE_AF_PP;
  GPIO_InitStruct.Pull = GPIO_NOPULL;
  GPIO_InitStruct.Speed = GPIO_SPEED_FREQ_VERY_HIGH;
  GPIO_InitStruct.Alternate = GPIO_AF12_FMC;
  HAL_GPIO_Init(GPIOF, &GPIO_InitStruct);

  /*Configure GPIO pins : SPI5_SCK_Pin SPI5_MISO_Pin SPI5_MOSI_Pin */
  GPIO_InitStruct.Pin = SPI5_SCK_Pin|SPI5_MISO_Pin|SPI5_MOSI_Pin;
  GPIO_InitStruct.Mode = GPIO_MODE_AF_PP;
  GPIO_InitStruct.Pull = GPIO_NOPULL;
  GPIO_InitStruct.Speed = GPIO_SPEED_FREQ_LOW;
  GPIO_InitStruct.Alternate = GPIO_AF5_SPI5;
  HAL_GPIO_Init(GPIOF, &GPIO_InitStruct);

  /*Configure GPIO pin : ENABLE_Pin */
  GPIO_InitStruct.Pin = ENABLE_Pin;
  GPIO_InitStruct.Mode = GPIO_MODE_AF_PP;
  GPIO_InitStruct.Pull = GPIO_NOPULL;
  GPIO_InitStruct.Speed = GPIO_SPEED_FREQ_LOW;
  GPIO_InitStruct.Alternate = GPIO_AF14_LTDC;
  HAL_GPIO_Init(ENABLE_GPIO_Port, &GPIO_InitStruct);

  /*Configure GPIO pin : SDNWE_Pin */
  GPIO_InitStruct.Pin = SDNWE_Pin;
  GPIO_InitStruct.Mode = GPIO_MODE_AF_PP;
  GPIO_InitStruct.Pull = GPIO_NOPULL;
  GPIO_InitStruct.Speed = GPIO_SPEED_FREQ_VERY_HIGH;
  GPIO_InitStruct.Alternate = GPIO_AF12_FMC;
  HAL_GPIO_Init(SDNWE_GPIO_Port, &GPIO_InitStruct);

  /*Configure GPIO pins : NCS_MEMS_SPI_Pin CSX_Pin OTG_FS_PSO_Pin */
  GPIO_InitStruct.Pin = NCS_MEMS_SPI_Pin|CSX_Pin|OTG_FS_PSO_Pin;
  GPIO_InitStruct.Mode = GPIO_MODE_OUTPUT_PP;
  GPIO_InitStruct.Pull = GPIO_NOPULL;
  GPIO_InitStruct.Speed = GPIO_SPEED_FREQ_LOW;
  HAL_GPIO_Init(GPIOC, &GPIO_InitStruct);

  /*Configure GPIO pin : B1_Pin */
  GPIO_InitStruct.Pin = B1_Pin;
  GPIO_InitStruct.Mode = GPIO_MODE_IT_RISING;
  GPIO_InitStruct.Pull = GPIO_NOPULL;
  HAL_GPIO_Init(B1_GPIO_Port, &GPIO_InitStruct);

  /*Configure GPIO pins : MEMS_INT1_Pin MEMS_INT2_Pin TP_INT1_Pin */
  GPIO_InitStruct.Pin = MEMS_INT1_Pin|MEMS_INT2_Pin|TP_INT1_Pin;
  GPIO_InitStruct.Mode = GPIO_MODE_EVT_RISING;
  GPIO_InitStruct.Pull = GPIO_NOPULL;
  HAL_GPIO_Init(GPIOA, &GPIO_InitStruct);

  /*Configure GPIO pins : B5_Pin VSYNC_Pin G2_Pin R4_Pin
                           R5_Pin */
  GPIO_InitStruct.Pin = B5_Pin|VSYNC_Pin|G2_Pin|R4_Pin
                          |R5_Pin;
  GPIO_InitStruct.Mode = GPIO_MODE_AF_PP;
  GPIO_InitStruct.Pull = GPIO_NOPULL;
  GPIO_InitStruct.Speed = GPIO_SPEED_FREQ_LOW;
  GPIO_InitStruct.Alternate = GPIO_AF14_LTDC;
  HAL_GPIO_Init(GPIOA, &GPIO_InitStruct);

  /*Configure GPIO pin : PA5 */
  GPIO_InitStruct.Pin = GPIO_PIN_5;
  GPIO_InitStruct.Mode = GPIO_MODE_OUTPUT_PP;
  GPIO_InitStruct.Pull = GPIO_NOPULL;
  GPIO_InitStruct.Speed = GPIO_SPEED_FREQ_LOW;
  HAL_GPIO_Init(GPIOA, &GPIO_InitStruct);

  /*Configure GPIO pin : OTG_FS_OC_Pin */
  GPIO_InitStruct.Pin = OTG_FS_OC_Pin;
  GPIO_InitStruct.Mode = GPIO_MODE_EVT_RISING;
  GPIO_InitStruct.Pull = GPIO_NOPULL;
  HAL_GPIO_Init(OTG_FS_OC_GPIO_Port, &GPIO_InitStruct);

  /*Configure GPIO pins : R3_Pin R6_Pin */
  GPIO_InitStruct.Pin = R3_Pin|R6_Pin;
  GPIO_InitStruct.Mode = GPIO_MODE_AF_PP;
  GPIO_InitStruct.Pull = GPIO_NOPULL;
  GPIO_InitStruct.Speed = GPIO_SPEED_FREQ_LOW;
  GPIO_InitStruct.Alternate = GPIO_AF9_LTDC;
  HAL_GPIO_Init(GPIOB, &GPIO_InitStruct);

  /*Configure GPIO pin : BOOT1_Pin */
  GPIO_InitStruct.Pin = BOOT1_Pin;
  GPIO_InitStruct.Mode = GPIO_MODE_INPUT;
  GPIO_InitStruct.Pull = GPIO_NOPULL;
  HAL_GPIO_Init(BOOT1_GPIO_Port, &GPIO_InitStruct);

  /*Configure GPIO pins : A10_Pin A11_Pin BA0_Pin BA1_Pin
                           SDCLK_Pin SDNCAS_Pin */
  GPIO_InitStruct.Pin = A10_Pin|A11_Pin|BA0_Pin|BA1_Pin
                          |SDCLK_Pin|SDNCAS_Pin;
  GPIO_InitStruct.Mode = GPIO_MODE_AF_PP;
  GPIO_InitStruct.Pull = GPIO_NOPULL;
  GPIO_InitStruct.Speed = GPIO_SPEED_FREQ_VERY_HIGH;
  GPIO_InitStruct.Alternate = GPIO_AF12_FMC;
  HAL_GPIO_Init(GPIOG, &GPIO_InitStruct);

  /*Configure GPIO pins : D4_Pin D5_Pin D6_Pin D7_Pin
                           D8_Pin D9_Pin D10_Pin D11_Pin
                           D12_Pin NBL0_Pin NBL1_Pin */
  GPIO_InitStruct.Pin = D4_Pin|D5_Pin|D6_Pin|D7_Pin
                          |D8_Pin|D9_Pin|D10_Pin|D11_Pin
                          |D12_Pin|NBL0_Pin|NBL1_Pin;
  GPIO_InitStruct.Mode = GPIO_MODE_AF_PP;
  GPIO_InitStruct.Pull = GPIO_NOPULL;
  GPIO_InitStruct.Speed = GPIO_SPEED_FREQ_VERY_HIGH;
  GPIO_InitStruct.Alternate = GPIO_AF12_FMC;
  HAL_GPIO_Init(GPIOE, &GPIO_InitStruct);

  /*Configure GPIO pins : G4_Pin G5_Pin B6_Pin B7_Pin */
  GPIO_InitStruct.Pin = G4_Pin|G5_Pin|B6_Pin|B7_Pin;
  GPIO_InitStruct.Mode = GPIO_MODE_AF_PP;
  GPIO_InitStruct.Pull = GPIO_NOPULL;
  GPIO_InitStruct.Speed = GPIO_SPEED_FREQ_LOW;
  GPIO_InitStruct.Alternate = GPIO_AF14_LTDC;
  HAL_GPIO_Init(GPIOB, &GPIO_InitStruct);

  /*Configure GPIO pins : OTG_HS_ID_Pin OTG_HS_DM_Pin OTG_HS_DP_Pin */
  GPIO_InitStruct.Pin = OTG_HS_ID_Pin|OTG_HS_DM_Pin|OTG_HS_DP_Pin;
  GPIO_InitStruct.Mode = GPIO_MODE_AF_PP;
  GPIO_InitStruct.Pull = GPIO_NOPULL;
  GPIO_InitStruct.Speed = GPIO_SPEED_FREQ_LOW;
  GPIO_InitStruct.Alternate = GPIO_AF12_OTG_HS_FS;
  HAL_GPIO_Init(GPIOB, &GPIO_InitStruct);

  /*Configure GPIO pin : VBUS_HS_Pin */
  GPIO_InitStruct.Pin = VBUS_HS_Pin;
  GPIO_InitStruct.Mode = GPIO_MODE_INPUT;
  GPIO_InitStruct.Pull = GPIO_NOPULL;
  HAL_GPIO_Init(VBUS_HS_GPIO_Port, &GPIO_InitStruct);

  /*Configure GPIO pins : D13_Pin D14_Pin D15_Pin D0_Pin
                           D1_Pin D2_Pin D3_Pin */
  GPIO_InitStruct.Pin = D13_Pin|D14_Pin|D15_Pin|D0_Pin
                          |D1_Pin|D2_Pin|D3_Pin;
  GPIO_InitStruct.Mode = GPIO_MODE_AF_PP;
  GPIO_InitStruct.Pull = GPIO_NOPULL;
  GPIO_InitStruct.Speed = GPIO_SPEED_FREQ_VERY_HIGH;
  GPIO_InitStruct.Alternate = GPIO_AF12_FMC;
  HAL_GPIO_Init(GPIOD, &GPIO_InitStruct);

  /*Configure GPIO pin : TE_Pin */
  GPIO_InitStruct.Pin = TE_Pin;
  GPIO_InitStruct.Mode = GPIO_MODE_INPUT;
  GPIO_InitStruct.Pull = GPIO_NOPULL;
  HAL_GPIO_Init(TE_GPIO_Port, &GPIO_InitStruct);

  /*Configure GPIO pins : RDX_Pin WRX_DCX_Pin */
  GPIO_InitStruct.Pin = RDX_Pin|WRX_DCX_Pin;
  GPIO_InitStruct.Mode = GPIO_MODE_OUTPUT_PP;
  GPIO_InitStruct.Pull = GPIO_NOPULL;
  GPIO_InitStruct.Speed = GPIO_SPEED_FREQ_LOW;
  HAL_GPIO_Init(GPIOD, &GPIO_InitStruct);

  /*Configure GPIO pins : R7_Pin DOTCLK_Pin B3_Pin */
  GPIO_InitStruct.Pin = R7_Pin|DOTCLK_Pin|B3_Pin;
  GPIO_InitStruct.Mode = GPIO_MODE_AF_PP;
  GPIO_InitStruct.Pull = GPIO_NOPULL;
  GPIO_InitStruct.Speed = GPIO_SPEED_FREQ_LOW;
  GPIO_InitStruct.Alternate = GPIO_AF14_LTDC;
  HAL_GPIO_Init(GPIOG, &GPIO_InitStruct);

  /*Configure GPIO pins : HSYNC_Pin G6_Pin R2_Pin */
  GPIO_InitStruct.Pin = HSYNC_Pin|G6_Pin|R2_Pin;
  GPIO_InitStruct.Mode = GPIO_MODE_AF_PP;
  GPIO_InitStruct.Pull = GPIO_NOPULL;
  GPIO_InitStruct.Speed = GPIO_SPEED_FREQ_LOW;
  GPIO_InitStruct.Alternate = GPIO_AF14_LTDC;
  HAL_GPIO_Init(GPIOC, &GPIO_InitStruct);

  /*Configure GPIO pins : G7_Pin B2_Pin */
  GPIO_InitStruct.Pin = G7_Pin|B2_Pin;
  GPIO_InitStruct.Mode = GPIO_MODE_AF_PP;
  GPIO_InitStruct.Pull = GPIO_NOPULL;
  GPIO_InitStruct.Speed = GPIO_SPEED_FREQ_LOW;
  GPIO_InitStruct.Alternate = GPIO_AF14_LTDC;
  HAL_GPIO_Init(GPIOD, &GPIO_InitStruct);

  /*Configure GPIO pins : G3_Pin B4_Pin */
  GPIO_InitStruct.Pin = G3_Pin|B4_Pin;
  GPIO_InitStruct.Mode = GPIO_MODE_AF_PP;
  GPIO_InitStruct.Pull = GPIO_NOPULL;
  GPIO_InitStruct.Speed = GPIO_SPEED_FREQ_LOW;
  GPIO_InitStruct.Alternate = GPIO_AF9_LTDC;
  HAL_GPIO_Init(GPIOG, &GPIO_InitStruct);

  /*Configure GPIO pins : LD3_Pin LD4_Pin */
  GPIO_InitStruct.Pin = LD3_Pin|LD4_Pin;
  GPIO_InitStruct.Mode = GPIO_MODE_OUTPUT_PP;
  GPIO_InitStruct.Pull = GPIO_NOPULL;
  GPIO_InitStruct.Speed = GPIO_SPEED_FREQ_LOW;
  HAL_GPIO_Init(GPIOG, &GPIO_InitStruct);

  /*Configure GPIO pins : SDCKE1_Pin SDNE1_Pin */
  GPIO_InitStruct.Pin = SDCKE1_Pin|SDNE1_Pin;
  GPIO_InitStruct.Mode = GPIO_MODE_AF_PP;
  GPIO_InitStruct.Pull = GPIO_NOPULL;
  GPIO_InitStruct.Speed = GPIO_SPEED_FREQ_VERY_HIGH;
  GPIO_InitStruct.Alternate = GPIO_AF12_FMC;
  HAL_GPIO_Init(GPIOB, &GPIO_InitStruct);

  /* EXTI interrupt init*/
  HAL_NVIC_SetPriority(EXTI0_IRQn, 0, 0);
  HAL_NVIC_EnableIRQ(EXTI0_IRQn);

}

/* USER CODE BEGIN 4 */

// function that handles the interrupts on pin PA1 - user button on the board
// implementation of a __weak function in the HAL
void HAL_GPIO_EXTI_Callback(uint16_t GPIO_Pin){

	if (GPIO_Pin == B1_Pin){
		// set the global variable when board button B1 is pressed
		// Stop! Hammer time!
		MyButtonPressed = GPIO_PIN_SET;
	}

}

/*
void HAL_ADC_ConvCpltCallback(ADC_HandleTypeDef* hadc)
{
	MyPotValue = HAL_ADC_GetValue(hadc);

	//HAL_ADC_Start_IT(hadc);
}
*/

/* USER CODE END 4 */

void HAL_TIM_PeriodElapsedCallback(TIM_HandleTypeDef *htim)
{
  if (htim->Instance == TIM6) {
    HAL_IncTick();
  }
}

void Error_Handler(void)
{
  __disable_irq();
  while (1)
  {
  }
}
